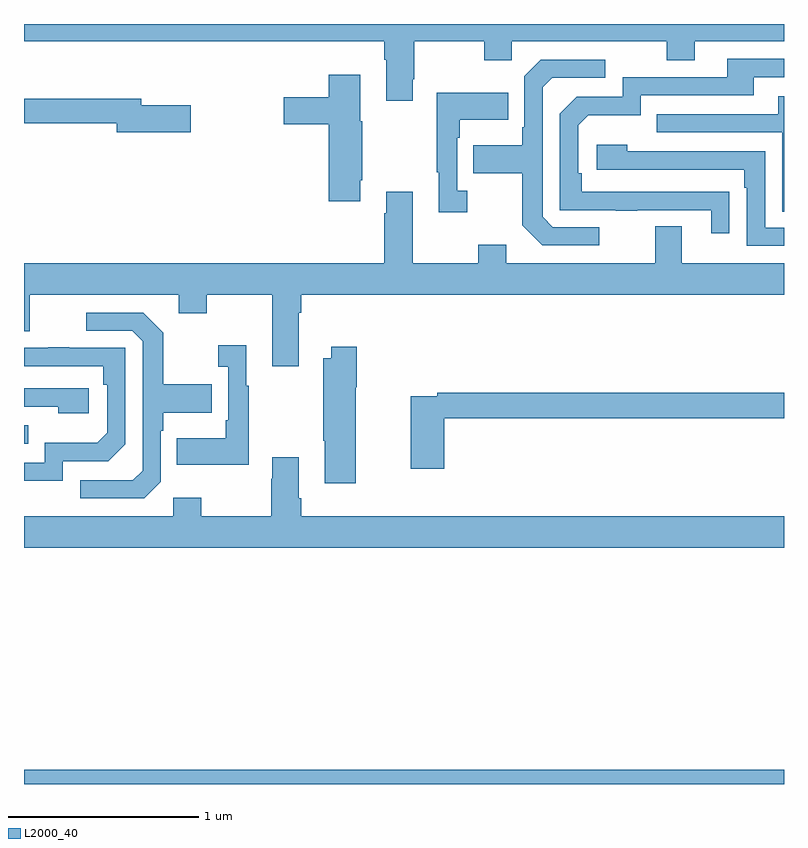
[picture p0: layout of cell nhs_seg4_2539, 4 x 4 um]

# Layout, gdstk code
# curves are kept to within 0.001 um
import gdstk
lib = gdstk.Library(unit=1e-6, precision=1e-09)
def R(c, l, rs):  # rectangles x0, y0, x1, y1
    for r in rs: c.add(gdstk.rectangle(r[:2], r[2:], *l))
def P(c, l, *ps):  # polygons
    for p in ps: c.add(gdstk.Polygon(p, *l))
L2000_40 = (2000, 40)

nhs_seg4_2539 = lib.new_cell('nhs_seg4_2539')
R(nhs_seg4_2539, L2000_40, [(243,804.9,247,804.976), (243,806.691,243.023,806.787)])
P(nhs_seg4_2539, L2000_40, [(245.047,808.609),(245.055,808.609),(245.055,808.808),(245.422,808.808),(245.422,808.709),(245.568,808.709),(245.568,808.808),(246.382,808.808),(246.382,808.709),(246.529,808.709),(246.529,808.808),(247,808.808),(247,808.9),(243,808.9),(243,808.808),(244.895,808.808),(244.895,808.712),(244.907,808.712),(244.907,808.497),(245.047,808.497)],
  [(246.713,808.016),(245.936,808.017),(245.936,808.114),(245.916,808.114),(245.916,808.368),(245.969,808.421),(246.246,808.421),(246.246,808.524),(246.841,808.524),(246.841,808.62),(247,808.62),(247,808.716),(246.701,808.716),(246.701,808.62),(246.15,808.62),(246.15,808.518),(245.91,808.518),(245.82,808.428),(245.82,807.921),(246.115,807.921),(246.115,807.916),(246.227,807.916),(246.227,807.921),(246.617,807.921),(246.617,807.798),(246.713,807.798)],
  [(246.028,807.831),(245.784,807.831),(245.73,807.885),(245.73,808.566),(245.781,808.617),(246.058,808.617),(246.058,808.713),(245.721,808.713),(245.634,808.626),(245.634,808.357),(245.622,808.357),(245.622,808.261),(245.365,808.261),(245.365,808.114),(245.622,808.114),(245.622,807.841),(245.727,807.735),(246.028,807.735)],
  [(244.771,808.078),(244.779,808.078),(244.779,808.389),(244.771,808.389),(244.771,808.633),(244.604,808.633),(244.604,808.515),(244.368,808.515),(244.368,808.373),(244.604,808.373),(244.604,807.966),(244.771,807.966)],
  [(245.332,808.022),(245.28,808.022),(245.28,808.301),(245.293,808.301),(245.293,808.397),(245.549,808.397),(245.549,808.537),(245.172,808.537),(245.172,808.121),(245.183,808.121),(245.183,807.909),(245.332,807.909)],
  [(247,808.519),(246.971,808.519),(246.971,808.425),(246.331,808.425),(246.331,808.329),(246.99,808.329),(246.99,807.913),(247,807.913)],
  [(243.877,808.473),(243.616,808.473),(243.616,808.507),(243,808.507),(243,808.378),(243.488,808.378),(243.488,808.331),(243.877,808.331)],
  [(247,807.828),(246.9,807.828),(246.9,808.23),(246.176,808.23),(246.176,808.264),(246.015,808.264),(246.015,808.134),(246.791,808.134),(246.791,808.037),(246.804,808.037),(246.804,807.732),(247,807.732)],
  [(244.447,807.38),(244.46,807.38),(244.46,807.476),(247,807.476),(247,807.64),(246.463,807.64),(246.463,807.835),(246.323,807.835),(246.323,807.64),(245.539,807.64),(245.539,807.739),(245.392,807.739),(245.392,807.64),(245.047,807.64),(245.047,808.018),(244.907,808.018),(244.907,807.905),(244.895,807.905),(244.895,807.64),(243,807.64),(243,807.282),(243.031,807.282),(243.031,807.476),(243.815,807.476),(243.815,807.377),(243.963,807.377),(243.963,807.476),(244.307,807.476),(244.307,807.099),(244.447,807.099)],
  [(243.72,806.49),(243.72,806.759),(243.733,806.759),(243.733,806.855),(243.989,806.855),(243.989,807.003),(243.733,807.003),(243.733,807.275),(243.627,807.381),(243.327,807.381),(243.327,807.285),(243.57,807.285),(243.624,807.231),(243.624,806.55),(243.573,806.499),(243.297,806.499),(243.297,806.403),(243.633,806.403)],
  [(244.183,806.995),(244.171,806.995),(244.171,807.208),(244.023,807.208),(244.023,807.095),(244.074,807.095),(244.074,806.815),(244.062,806.815),(244.062,806.719),(243.805,806.719),(243.805,806.579),(244.183,806.579)],
  [(244.746,806.989),(244.751,806.989),(244.751,807.202),(244.616,807.202),(244.616,807.142),(244.576,807.142),(244.576,806.707),(244.583,806.707),(244.583,806.484),(244.746,806.484)],
  [(243.204,806.598),(243.444,806.598),(243.534,806.688),(243.534,807.195),(243.239,807.195),(243.239,807.2),(243.127,807.2),(243.127,807.195),(243,807.195),(243,807.099),(243.418,807.099),(243.418,807.002),(243.438,807.002),(243.438,806.748),(243.385,806.695),(243.108,806.695),(243.108,806.592),(243,806.592),(243,806.496),(243.204,806.496)],
  [(243.34,806.982),(243,806.982),(243,806.886),(243.179,806.886),(243.179,806.852),(243.34,806.852)],
  [(245.213,806.824),(247,806.824),(247,806.96),(245.176,806.96),(245.176,806.94),(245.035,806.94),(245.035,806.559),(245.213,806.559)],
  [(247,806.308),(244.46,806.308),(244.46,806.404),(244.447,806.404),(244.447,806.62),(244.307,806.62),(244.307,806.507),(244.3,806.507),(244.3,806.308),(243.933,806.308),(243.933,806.407),(243.786,806.407),(243.786,806.308),(243,806.308),(243,806.144),(247,806.144)])

lib.write_gds('nhs_seg4_2539.gds')
